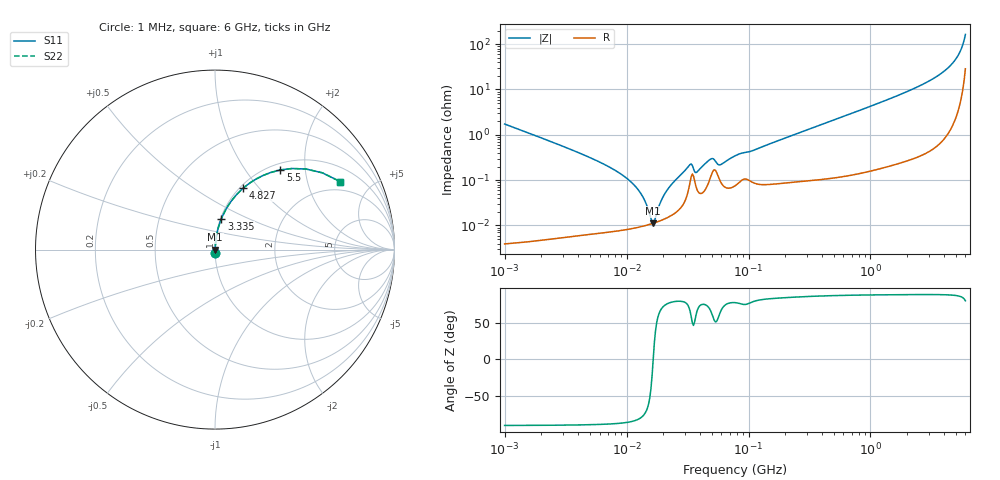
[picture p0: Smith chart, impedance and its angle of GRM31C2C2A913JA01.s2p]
!Murata Part Number: GRM31C2C2A913JA01
!These Parameters are Measured in Series Mode Connection
!Data Generated on Mar 30, 2021
!  o--ll--o
!Port1  Port2
!  o------o
!Operation Temp=25[degC], DC Bias Voltage=0[V]
!Freq. Start=1000[kHz] Stop=6[GHz] 401[Steps]
# Hz S RI R 50
!Freq.(Hz) S11(Real) S11(Imag) S21(Real) S21(Imag) S12(Real) S12(Imag) S22(Real) S22(Imag)
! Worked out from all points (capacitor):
!   401 points, 1 MHz to 6 GHz, reference 50 ohm
!   read as one part in series: C = 91.6 nF near 1.044 MHz
!   lowest |Z| = 11.2 mohm at 16.54 MHz (marker M1)
!   series resonance near 16.53 MHz, so ESL is about 1 nH
!   S11 on the Smith chart (normalised r, x): 1 MHz: 1.00, -0.03; 3.335 GHz: 1.01, +0.36; 4.827 GHz: 1.04, +0.82; 5.5 GHz: 1.12, +1.48; 6 GHz: 1.57, +3.22
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1000000  0.000339 -0.0173  0.9997 0.0173  0.9997 0.0173  0.000339 -0.0173
4293785  7.48e-05 -0.00377  0.9999 0.00377  0.9999 0.00377  7.48e-05 -0.00377
7558231  7.59e-05 -0.00182  0.9999 0.00182  0.9999 0.00182  7.59e-05 -0.00182
1.093935e7  8.55e-05 -0.000896  0.9999 0.000896  0.9999 0.000896  8.55e-05 -0.000896
1.330454e7  9.5e-05 -0.000464  0.9999 0.000464  0.9999 0.000464  9.5e-05 -0.000464
1.451381e7  0.000101 -0.000277  0.9999 0.000277  0.9999 0.000277  0.000101 -0.000277
1.583299e7  0.000108 -9.18e-05  0.9999 9.18e-05  0.9999 9.18e-05  0.000108 -9.18e-05
1.653689e7  0.000112 1.1e-06  0.9999 -1.1e-06  0.9999 -1.1e-06  0.000112 1.1e-06
1.727208e7  0.000116 9.46e-05  0.9999 -9.46e-05  0.9999 -9.46e-05  0.000116 9.46e-05
1.843659e7  0.000124 0.000236  0.9999 -0.000236  0.9999 -0.000236  0.000124 0.000236
2.194036e7  0.000152 0.000632  0.9998 -0.000632  0.9998 -0.000632  0.000152 0.000632
3.245342e7  0.000678 0.00196  0.9993 -0.00196  0.9993 -0.00196  0.000678 0.00196
3.779011e7  0.000623 0.00138  0.9994 -0.00138  0.9994 -0.00138  0.000623 0.00138
4.905945e7  0.00121 0.00267  0.9988 -0.00267  0.9988 -0.00267  0.00121 0.00267
5.838291e7  0.000977 0.00194  0.999 -0.00194  0.999 -0.00194  0.000977 0.00194
7.745967e7  0.00076 0.00335  0.9992 -0.00335  0.9992 -0.00335  0.00076 0.00335
3.325952e8  0.00118 0.014  0.9988 -0.014  0.9988 -0.014  0.00118 0.014
1.428092e9  0.00582 0.0614  0.9942 -0.0614  0.9942 -0.0614  0.00582 0.0614
3.335232e9  0.0357 0.172  0.9643 -0.172  0.9643 -0.172  0.0357 0.172
4.827224e9  0.156 0.3411  0.844 -0.3411  0.844 -0.3411  0.156 0.3411
5.500089e9  0.3647 0.4439  0.6353 -0.4439  0.6353 -0.4439  0.3647 0.4439
6e9  0.6973 0.379  0.3027 -0.379  0.3027 -0.379  0.6973 0.379
